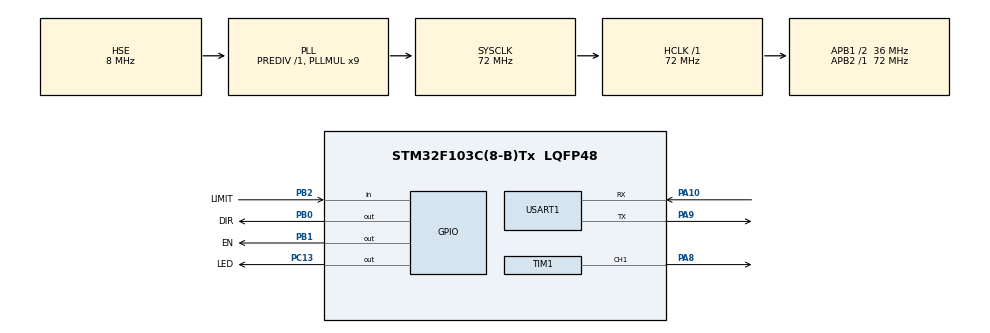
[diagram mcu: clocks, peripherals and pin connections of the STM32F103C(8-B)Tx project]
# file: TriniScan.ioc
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Mcu.Family=STM32F1
Mcu.Name=STM32F103C(8-B)Tx
Mcu.Package=LQFP48
NVIC.PriorityGroup=NVIC_PRIORITYGROUP_4
NVIC.TIM1_BRK_IRQn=true\:0\:0\:false\:false\:true\:true\:true\:true
NVIC.USART1_IRQn=true\:0\:0\:false\:false\:true\:true\:true\:true
PA10.Mode=Asynchronous
PA10.Signal=USART1_RX
PA13.Mode=Serial_Wire
PA13.Signal=SYS_JTMS-SWDIO
PA14.Mode=Serial_Wire
PA14.Signal=SYS_JTCK-SWCLK
PA8.Signal=S_TIM1_CH1
PA9.Mode=Asynchronous
PA9.Signal=USART1_TX
PB0.GPIO_Label=DIR
PB0.GPIO_ModeDefaultOutputPP=GPIO_MODE_OUTPUT_PP
PB0.GPIO_PuPd=GPIO_NOPULL
PB0.Signal=GPIO_Output
PB1.GPIO_Label=EN
PB1.Signal=GPIO_Output
PB2.GPIO_Label=LIMIT
PB2.GPIO_PuPd=GPIO_PULLUP
PB2.Signal=GPIO_Input
PC13-TAMPER-RTC.GPIO_Label=LED
PC13-TAMPER-RTC.Signal=GPIO_Output
PD0-OSC_IN.Mode=HSE-External-Oscillator
PD0-OSC_IN.Signal=RCC_OSC_IN
PD1-OSC_OUT.Mode=HSE-External-Oscillator
PD1-OSC_OUT.Signal=RCC_OSC_OUT
ProjectManager.HeapSize=0x200
ProjectManager.StackSize=0x400
ProjectManager.TargetToolchain=STM32CubeIDE
RCC.AHBFreq_Value=72000000
RCC.APB1CLKDivider=RCC_HCLK_DIV2
RCC.APB1Freq_Value=36000000
RCC.APB1TimFreq_Value=72000000
RCC.APB2Freq_Value=72000000
RCC.APB2TimFreq_Value=72000000
RCC.HCLKFreq_Value=72000000
RCC.PLLMUL=RCC_PLL_MUL9
RCC.PLLSourceVirtual=RCC_PLLSOURCE_HSE
RCC.SYSCLKFreq_VALUE=72000000
RCC.SYSCLKSource=RCC_SYSCLKSOURCE_PLLCLK
RCC.USBFreq_Value=72000000
SH.S_TIM1_CH1.0=TIM1_CH1,PWM Generation1 CH1
TIM1.Channel-PWM\ Generation1\ CH1=TIM_CHANNEL_1
TIM1.Period=999
TIM1.Prescaler=71
TIM1.Pulse-PWM\ Generation1\ CH1=500
USART1.VirtualMode=VM_ASYNC
VP_TIM1_VS_ClockSourceINT.Mode=Internal
board=custom

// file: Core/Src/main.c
/* USER CODE BEGIN Header */
/**
  ******************************************************************************
  * @file           : main.c
  * @brief          : Main program body
  ******************************************************************************
  * @attention
  *
  * Copyright (c) 2026 STMicroelectronics.
  * All rights reserved.
  *
  * This software is licensed under terms that can be found in the LICENSE file
  * in the root directory of this software component.
  * If no LICENSE file comes with this software, it is provided AS-IS.
  *
  ******************************************************************************
  */
/* USER CODE END Header */
#include "main.h"

/* USER CODE BEGIN Includes */
#include <string.h>
#include "motor.h"
#include "cmd.h"
#include "config.h"
/* USER CODE END Includes */

TIM_HandleTypeDef htim1;

UART_HandleTypeDef huart1;

/* USER CODE BEGIN PV */
static uint8_t g_rx_byte;
/* USER CODE END PV */

void SystemClock_Config(void);
static void MX_GPIO_Init(void);
static void MX_TIM1_Init(void);
static void MX_USART1_UART_Init(void);

int main(void)
{

  /* MCU Configuration--------------------------------------------------------*/

  /* Reset of all peripherals, Initializes the Flash interface and the Systick. */
  HAL_Init();

  /* Configure the system clock */
  SystemClock_Config();

  /* Initialize all configured peripherals */
  MX_GPIO_Init();
  MX_TIM1_Init();
  MX_USART1_UART_Init();
  /* USER CODE BEGIN 2 */
  motor_init();
  motor_enable(true);
  cmd_init();

  HAL_UART_Receive_IT(&huart1, &g_rx_byte, 1);

  HAL_GPIO_WritePin(LED_GPIO_Port, LED_Pin, GPIO_PIN_SET);

  HAL_Delay(1000);
  cmd_send_line("READY");
  /* USER CODE END 2 */

  /* Infinite loop */
  /* USER CODE BEGIN WHILE */
  while (1)
  {
    cmd_poll();      /* 处理串口命令（步进运动由 TIM1 中断推进） */
    /* USER CODE END WHILE */

  }
}

void SystemClock_Config(void)
{
  RCC_OscInitTypeDef RCC_OscInitStruct = {0};
  RCC_ClkInitTypeDef RCC_ClkInitStruct = {0};

  /** Initializes the RCC Oscillators according to the specified parameters
  * in the RCC_OscInitTypeDef structure.
  */
  RCC_OscInitStruct.OscillatorType = RCC_OSCILLATORTYPE_HSE;
  RCC_OscInitStruct.HSEState = RCC_HSE_ON;
  RCC_OscInitStruct.HSEPredivValue = RCC_HSE_PREDIV_DIV1;
  RCC_OscInitStruct.HSIState = RCC_HSI_ON;
  RCC_OscInitStruct.PLL.PLLState = RCC_PLL_ON;
  RCC_OscInitStruct.PLL.PLLSource = RCC_PLLSOURCE_HSE;
  RCC_OscInitStruct.PLL.PLLMUL = RCC_PLL_MUL9;
  if (HAL_RCC_OscConfig(&RCC_OscInitStruct) != HAL_OK)
  {
    Error_Handler();
  }

  /** Initializes the CPU, AHB and APB buses clocks
  */
  RCC_ClkInitStruct.ClockType = RCC_CLOCKTYPE_HCLK|RCC_CLOCKTYPE_SYSCLK
                              |RCC_CLOCKTYPE_PCLK1|RCC_CLOCKTYPE_PCLK2;
  RCC_ClkInitStruct.SYSCLKSource = RCC_SYSCLKSOURCE_PLLCLK;
  RCC_ClkInitStruct.AHBCLKDivider = RCC_SYSCLK_DIV1;
  RCC_ClkInitStruct.APB1CLKDivider = RCC_HCLK_DIV2;
  RCC_ClkInitStruct.APB2CLKDivider = RCC_HCLK_DIV1;

  if (HAL_RCC_ClockConfig(&RCC_ClkInitStruct, FLASH_LATENCY_2) != HAL_OK)
  {
    Error_Handler();
  }
}

static void MX_TIM1_Init(void)
{

  TIM_ClockConfigTypeDef sClockSourceConfig = {0};
  TIM_MasterConfigTypeDef sMasterConfig = {0};
  TIM_OC_InitTypeDef sConfigOC = {0};
  TIM_BreakDeadTimeConfigTypeDef sBreakDeadTimeConfig = {0};

  htim1.Instance = TIM1;
  htim1.Init.Prescaler = 71;
  htim1.Init.CounterMode = TIM_COUNTERMODE_UP;
  htim1.Init.Period = 999;
  htim1.Init.ClockDivision = TIM_CLOCKDIVISION_DIV1;
  htim1.Init.RepetitionCounter = 0;
  htim1.Init.AutoReloadPreload = TIM_AUTORELOAD_PRELOAD_DISABLE;
  if (HAL_TIM_Base_Init(&htim1) != HAL_OK)
  {
    Error_Handler();
  }
  sClockSourceConfig.ClockSource = TIM_CLOCKSOURCE_INTERNAL;
  if (HAL_TIM_ConfigClockSource(&htim1, &sClockSourceConfig) != HAL_OK)
  {
    Error_Handler();
  }
  if (HAL_TIM_PWM_Init(&htim1) != HAL_OK)
  {
    Error_Handler();
  }
  sMasterConfig.MasterOutputTrigger = TIM_TRGO_RESET;
  sMasterConfig.MasterSlaveMode = TIM_MASTERSLAVEMODE_DISABLE;
  if (HAL_TIMEx_MasterConfigSynchronization(&htim1, &sMasterConfig) != HAL_OK)
  {
    Error_Handler();
  }
  sConfigOC.OCMode = TIM_OCMODE_PWM1;
  sConfigOC.Pulse = 500;
  sConfigOC.OCPolarity = TIM_OCPOLARITY_HIGH;
  sConfigOC.OCNPolarity = TIM_OCNPOLARITY_HIGH;
  sConfigOC.OCFastMode = TIM_OCFAST_DISABLE;
  sConfigOC.OCIdleState = TIM_OCIDLESTATE_RESET;
  sConfigOC.OCNIdleState = TIM_OCNIDLESTATE_RESET;
  if (HAL_TIM_PWM_ConfigChannel(&htim1, &sConfigOC, TIM_CHANNEL_1) != HAL_OK)
  {
    Error_Handler();
  }
  sBreakDeadTimeConfig.OffStateRunMode = TIM_OSSR_DISABLE;
  sBreakDeadTimeConfig.OffStateIDLEMode = TIM_OSSI_DISABLE;
  sBreakDeadTimeConfig.LockLevel = TIM_LOCKLEVEL_OFF;
  sBreakDeadTimeConfig.DeadTime = 0;
  sBreakDeadTimeConfig.BreakState = TIM_BREAK_DISABLE;
  sBreakDeadTimeConfig.BreakPolarity = TIM_BREAKPOLARITY_HIGH;
  sBreakDeadTimeConfig.AutomaticOutput = TIM_AUTOMATICOUTPUT_DISABLE;
  if (HAL_TIMEx_ConfigBreakDeadTime(&htim1, &sBreakDeadTimeConfig) != HAL_OK)
  {
    Error_Handler();
  }
  HAL_TIM_MspPostInit(&htim1);

}

static void MX_USART1_UART_Init(void)
{

  huart1.Instance = USART1;
  huart1.Init.BaudRate = 115200;
  huart1.Init.WordLength = UART_WORDLENGTH_8B;
  huart1.Init.StopBits = UART_STOPBITS_1;
  huart1.Init.Parity = UART_PARITY_NONE;
  huart1.Init.Mode = UART_MODE_TX_RX;
  huart1.Init.HwFlowCtl = UART_HWCONTROL_NONE;
  huart1.Init.OverSampling = UART_OVERSAMPLING_16;
  if (HAL_UART_Init(&huart1) != HAL_OK)
  {
    Error_Handler();
  }

}

static void MX_GPIO_Init(void)
{
  GPIO_InitTypeDef GPIO_InitStruct = {0};

  /* GPIO Ports Clock Enable */
  __HAL_RCC_GPIOC_CLK_ENABLE();
  __HAL_RCC_GPIOD_CLK_ENABLE();
  __HAL_RCC_GPIOB_CLK_ENABLE();
  __HAL_RCC_GPIOA_CLK_ENABLE();

  /*Configure GPIO pin Output Level */
  HAL_GPIO_WritePin(LED_GPIO_Port, LED_Pin, GPIO_PIN_RESET);

  /*Configure GPIO pin Output Level */
  HAL_GPIO_WritePin(GPIOB, DIR_Pin|EN_Pin, GPIO_PIN_RESET);

  /*Configure GPIO pin : LED_Pin */
  GPIO_InitStruct.Pin = LED_Pin;
  GPIO_InitStruct.Mode = GPIO_MODE_OUTPUT_PP;
  GPIO_InitStruct.Pull = GPIO_NOPULL;
  GPIO_InitStruct.Speed = GPIO_SPEED_FREQ_LOW;
  HAL_GPIO_Init(LED_GPIO_Port, &GPIO_InitStruct);

  /*Configure GPIO pins : DIR_Pin EN_Pin */
  GPIO_InitStruct.Pin = DIR_Pin|EN_Pin;
  GPIO_InitStruct.Mode = GPIO_MODE_OUTPUT_PP;
  GPIO_InitStruct.Pull = GPIO_NOPULL;
  GPIO_InitStruct.Speed = GPIO_SPEED_FREQ_LOW;
  HAL_GPIO_Init(GPIOB, &GPIO_InitStruct);

  /*Configure GPIO pin : LIMIT_Pin */
  GPIO_InitStruct.Pin = LIMIT_Pin;
  GPIO_InitStruct.Mode = GPIO_MODE_INPUT;
  GPIO_InitStruct.Pull = GPIO_PULLUP;
  HAL_GPIO_Init(LIMIT_GPIO_Port, &GPIO_InitStruct);

}

/* USER CODE BEGIN 4 */
void HAL_UART_RxCpltCallback(UART_HandleTypeDef *huart)
{
  if (huart->Instance == USART1) {
    cmd_feed_byte(g_rx_byte);
    HAL_UART_Receive_IT(&huart1, &g_rx_byte, 1);
  }
}

void HAL_UART_ErrorCallback(UART_HandleTypeDef *huart)
{
  if (huart->Instance == USART1) {
    __HAL_UART_CLEAR_OREFLAG(huart);
    HAL_UART_Receive_IT(&huart1, &g_rx_byte, 1);
  }
}

/* TIM1 更新中断：每个 STEP 脉冲调用一次（精确步数计数） */
void HAL_TIM_PeriodElapsedCallback(TIM_HandleTypeDef *htim)
{
  if (htim->Instance == TIM1) {
    motor_on_tick();
  }
}
/* USER CODE END 4 */

void Error_Handler(void)
{
  __disable_irq();
  while (1)
  {
  }
}
